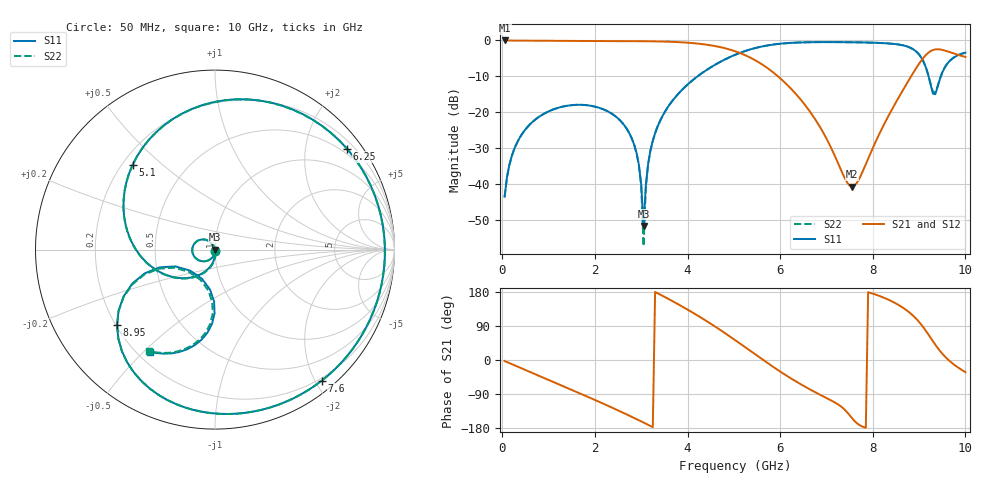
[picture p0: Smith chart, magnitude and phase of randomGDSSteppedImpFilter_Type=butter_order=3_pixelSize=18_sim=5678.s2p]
! freq	dB(S11)	phase(S11)	dB(S12)	phase(S12)
!  dB(S21)	phase(S21)	dB(S22)	phase(S22)
!S-par simulation data
#  GHz  S  DB  R 50
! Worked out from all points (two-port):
!   200 points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, 50 MHz to 10 GHz, reference 50 ohm
!   highest |S21| = -0.01 dB at 50 MHz (marker M1); lowest = -40.7 dB at 7.55 GHz (marker M2)
!   |S21| within 3 dB of the highest: start of sweep to 5.026 GHz; 9.246 GHz to 9.603 GHz (356.5 MHz wide, 3.78 % of centre)
!   lowest |S11| = -51.7 dB at 3.05 GHz (marker M3), VSWR 1.01, Z = 49.7 - j0.00497 ohm
!   |S11| at or under -10 dB: start of sweep to 4.218 GHz; 9.204 GHz to 9.472 GHz (267.3 MHz wide, 2.86 % of centre)
!   |S22| runs from -57.3 to -0.5 dB; largest |S21 - S12| = 0
!   S11 on the Smith chart (normalised r, x): 50 MHz: 1.00, -0.01; 5.1 GHz: 0.24, +0.40; 6.25 GHz: 0.37, +2.92; 7.6 GHz: 0.16, -2.10; 8.95 GHz: 0.20, -0.33; 10 GHz: 0.25, -0.52
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0.05  -43.56 -74.9  -0.01 -2.7  -0.01 -2.7  -43.56 -74.9
0.2  -32.43 -95.7  -0.04 -10.5  -0.04 -10.5  -32.43 -95.7
0.55  -24.03 -117.5  -0.07 -28.9  -0.07 -28.9  -24.03 -117.6
1.75  -17.97 177.7  -0.19 -92.0  -0.19 -92.0  -17.97 177.3
2.8  -27.40 121.3  -0.21 -150.2  -0.21 -150.2  -27.42 118.1
3  -40.24 120.0  -0.22 -162.0  -0.22 -162.0  -40.50 103.7
3.05  -51.72 -178.9  -0.23 -165.0  -0.23 -165.0  -57.33 56.4
3.1  -40.47 -92.7  -0.23 -168.1  -0.23 -168.1  -40.66 -76.1
3.15  -34.32 -89.0  -0.24 -171.1  -0.24 -171.1  -34.36 -80.7
3.4  -22.62 -99.8  -0.29 173.3  -0.29 173.3  -22.62 -97.5
4.3  -9.22 -160.8  -1.00 111.2  -1.00 111.2  -9.22 -160.3
5.05  -3.89 138.6  -3.12 50.6  -3.12 50.6  -3.89 138.7
5.1  -3.63 134.3  -3.35 46.3  -3.35 46.3  -3.64 134.3
5.7  -1.46 82.1  -7.47 -5.7  -7.47 -5.7  -1.46 82.0
6.25  -0.67 37.3  -13.66 -49.8  -13.66 -49.8  -0.67 37.1
6.7  -0.48 4.9  -20.88 -81.3  -20.88 -81.3  -0.49 4.6
7.55  -0.51 -47.9  -40.73 -153.3  -40.73 -153.3  -0.51 -48.2
7.6  -0.52 -50.8  -40.50 -160.2  -40.50 -160.2  -0.52 -51.1
8.35  -0.85 -94.7  -20.76 158.4  -20.76 158.4  -0.85 -94.8
8.95  -3.24 -142.5  -7.47 107.2  -7.47 107.2  -3.22 -142.2
9.35  -14.99 -114.1  -2.51 40.5  -2.51 40.5  -14.56 -115.5
10  -3.41 -122.4  -4.60 -32.0  -4.60 -32.0  -3.41 -123.3
